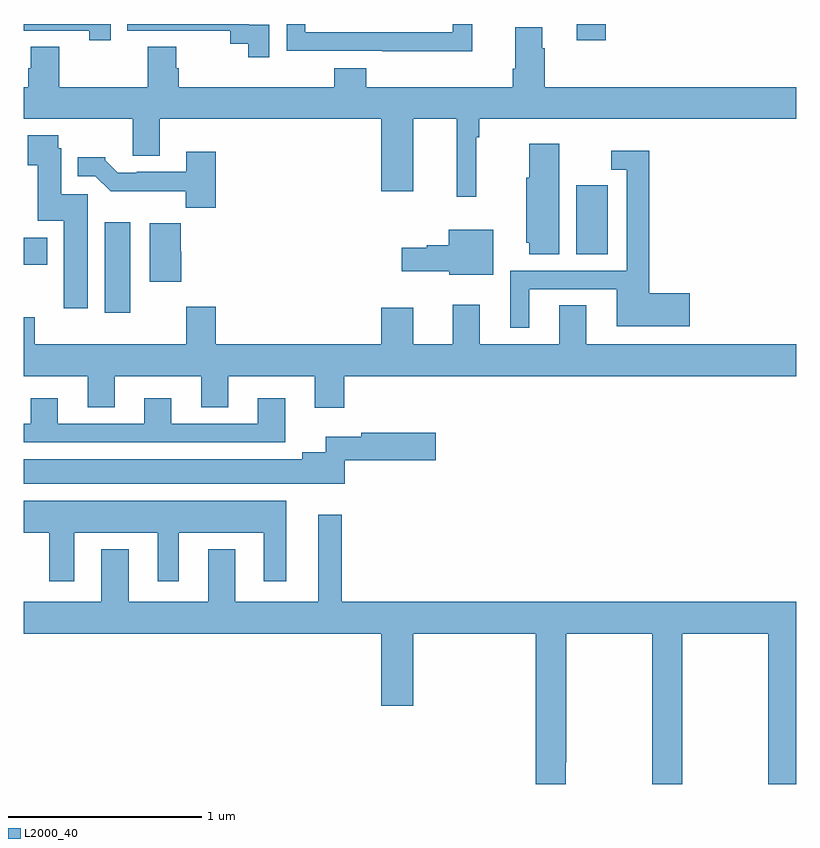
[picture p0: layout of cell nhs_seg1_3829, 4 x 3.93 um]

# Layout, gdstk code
import gdstk
lib = gdstk.Library(unit=1e-6, precision=1e-09)
def R(c, l, rs):  # rectangles x0, y0, x1, y1
    for r in rs: c.add(gdstk.rectangle(r[:2], r[2:], *l))
def P(c, l, *ps):  # polygons
    for p in ps: c.add(gdstk.Polygon(p, *l))
L2000_40 = (2000, 40)

nhs_seg1_3829 = lib.new_cell('nhs_seg1_3829')
R(nhs_seg1_3829, L2000_40, [(319.421,574.704,319.552,575.173), (319,574.952,319.123,575.092), (321.86,575.008,322.024,575.365), (321.863,576.114,322.012,576.199)])
P(nhs_seg1_3829, L2000_40, [(319.451,576.199),(319,576.199),(319,576.165),(319.34,576.165),(319.34,576.114),(319.451,576.114)],
  [(321.321,576.199),(321.222,576.199),(321.222,576.156),(320.457,576.156),(320.457,576.199),(320.361,576.199),(320.361,576.06),(320.857,576.06),(320.857,576.059),(321.321,576.059)],
  [(320.271,576.195),(320.166,576.195),(320.166,576.199),(319.536,576.199),(319.536,576.165),(320.07,576.165),(320.07,576.097),(320.163,576.097),(320.163,576.027),(320.271,576.027)],
  [(321.344,575.612),(321.359,575.612),(321.359,575.708),(323,575.708),(323,575.872),(321.698,575.872),(321.698,576.074),(321.685,576.074),(321.685,576.181),(321.545,576.181),(321.545,575.968),(321.533,575.968),(321.533,575.872),(320.774,575.872),(320.774,575.971),(320.609,575.971),(320.609,575.872),(319.802,575.872),(319.802,575.97),(319.789,575.97),(319.789,576.08),(319.642,576.08),(319.642,575.872),(319.185,575.872),(319.185,576.08),(319.037,576.08),(319.037,575.97),(319.025,575.97),(319.025,575.872),(319,575.872),(319,575.708),(319.565,575.708),(319.565,575.518),(319.705,575.518),(319.705,575.708),(320.852,575.708),(320.852,575.334),(321.016,575.334),(321.016,575.708),(321.241,575.708),(321.241,575.304),(321.344,575.304)],
  [(319.333,575.319),(319.195,575.319),(319.195,575.556),(319.179,575.556),(319.179,575.623),(319.022,575.623),(319.022,575.467),(319.073,575.467),(319.073,575.18),(319.208,575.18),(319.208,574.728),(319.333,574.728)],
  [(321.772,575.578),(321.617,575.578),(321.617,575.403),(321.602,575.403),(321.602,575.067),(321.617,575.067),(321.617,575.008),(321.772,575.008)],
  [(321.616,574.827),(322.07,574.827),(322.07,574.634),(322.447,574.634),(322.447,574.805),(322.238,574.805),(322.238,575.542),(322.041,575.542),(322.041,575.445),(322.122,575.445),(322.122,574.923),(321.518,574.923),(321.518,574.626),(321.616,574.626)],
  [(319.994,575.539),(319.841,575.539),(319.841,575.433),(319.585,575.433),(319.585,575.43),(319.486,575.43),(319.422,575.494),(319.422,575.509),(319.28,575.509),(319.28,575.412),(319.371,575.412),(319.45,575.334),(319.839,575.334),(319.839,575.249),(319.994,575.249)],
  [(319.816,575.019),(319.814,575.019),(319.814,575.167),(319.652,575.167),(319.652,574.866),(319.816,574.866)],
  [(321.43,575.134),(321.2,575.134),(321.2,575.054),(321.087,575.054),(321.087,575.041),(320.958,575.041),(320.958,574.919),(321.204,574.919),(321.204,574.901),(321.43,574.901)],
  [(320.66,574.376),(323,574.376),(323,574.54),(321.913,574.54),(321.913,574.742),(321.773,574.742),(321.773,574.54),(321.361,574.54),(321.361,574.747),(321.221,574.747),(321.221,574.54),(321.016,574.54),(321.016,574.729),(320.852,574.729),(320.852,574.54),(319.994,574.54),(319.994,574.735),(319.841,574.735),(319.841,574.54),(319.058,574.54),(319.058,574.681),(319,574.681),(319,574.376),(319.331,574.376),(319.331,574.216),(319.471,574.216),(319.471,574.376),(319.919,574.376),(319.919,574.216),(320.059,574.216),(320.059,574.376),(320.507,574.376),(320.507,574.212),(320.66,574.212)],
  [(320.353,574.261),(320.213,574.261),(320.213,574.131),(319.765,574.131),(319.765,574.261),(319.625,574.261),(319.625,574.131),(319.177,574.131),(319.177,574.261),(319.037,574.261),(319.037,574.131),(319,574.131),(319,574.035),(320.353,574.035)],
  [(320.661,573.941),(321.133,573.941),(321.133,574.083),(320.748,574.083),(320.748,574.063),(320.565,574.063),(320.565,573.982),(320.441,573.982),(320.441,573.946),(319,573.946),(319,573.818),(320.661,573.818)],
  [(319.261,573.566),(319.694,573.566),(319.694,573.315),(319.804,573.315),(319.804,573.566),(320.243,573.566),(320.243,573.315),(320.359,573.315),(320.359,573.73),(319,573.73),(319,573.566),(319.133,573.566),(319.133,573.315),(319.261,573.315)],
  [(321.805,572.377),(321.81,572.377),(321.81,573.044),(322.255,573.044),(322.255,572.265),(322.41,572.265),(322.41,573.044),(322.855,573.044),(322.855,572.265),(323,572.265),(323,573.208),(320.647,573.208),(320.647,573.658),(320.525,573.658),(320.525,573.208),(320.095,573.208),(320.095,573.481),(319.955,573.481),(319.955,573.208),(319.543,573.208),(319.543,573.481),(319.403,573.481),(319.403,573.208),(319,573.208),(319,573.044),(320.852,573.044),(320.852,572.67),(321.016,572.67),(321.016,573.044),(321.65,573.044),(321.65,572.265),(321.805,572.265)])

lib.write_gds('nhs_seg1_3829.gds')
